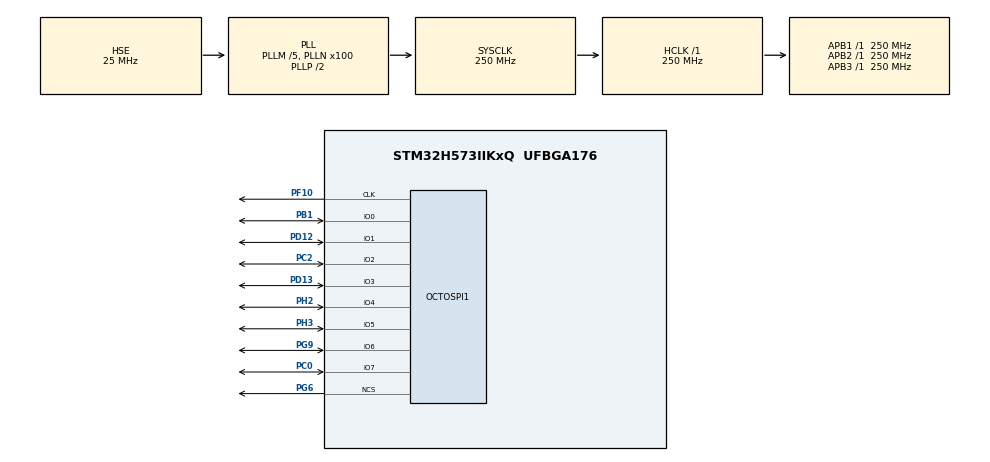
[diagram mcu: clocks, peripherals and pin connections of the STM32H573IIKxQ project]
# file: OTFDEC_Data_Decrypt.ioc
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AES.Algorithm=CRYP_AES_CTR
AES.Header=__NULL
CORTEX_M33_NS.userName=CORTEX_M33
Mcu.Family=STM32H5
Mcu.Name=STM32H573IIKxQ
Mcu.Package=UFBGA176
NVIC.OCTOSPI1_IRQn=true\:0\:0\:false\:false\:true\:true\:true\:true
NVIC.OTFDEC1_IRQn=true\:0\:0\:false\:false\:true\:true\:true\:true
NVIC.PriorityGroup=NVIC_PRIORITYGROUP_4
OCTOSPI1.ChipSelectHighTimeCycle=1
OCTOSPI1.ClockMode=HAL_XSPI_CLOCK_MODE_0
OCTOSPI1.ClockPrescaler=2
OCTOSPI1.DelayHoldQuarterCycle=HAL_XSPI_DHQC_ENABLE
OCTOSPI1.FifoThresholdByte=4
OCTOSPI1.MemorySize=HAL_XSPI_SIZE_8MB
OCTOSPI1.MemoryType=HAL_XSPI_MEMTYPE_MACRONIX
OCTOSPI1.WrapSize=HAL_XSPI_WRAP_NOT_SUPPORTED
PB1.GPIO_Speed_High_Default=GPIO_SPEED_FREQ_HIGH
PB1.Mode=octo_mode
PB1.Signal=OCTOSPI1_IO0
PB2.GPIO_Speed_High_Default=GPIO_SPEED_FREQ_HIGH
PB2.Signal=OCTOSPI1_DQS
PC0.GPIO_Speed_High_Default=GPIO_SPEED_FREQ_HIGH
PC0.Mode=octo_mode
PC0.Signal=OCTOSPI1_IO7
PC2.GPIO_Speed_High_Default=GPIO_SPEED_FREQ_HIGH
PC2.Mode=octo_mode
PC2.Signal=OCTOSPI1_IO2
PD12.GPIO_Speed_High_Default=GPIO_SPEED_FREQ_HIGH
PD12.Mode=octo_mode
PD12.Signal=OCTOSPI1_IO1
PD13.GPIO_Speed_High_Default=GPIO_SPEED_FREQ_HIGH
PD13.Mode=octo_mode
PD13.Signal=OCTOSPI1_IO3
PF10.GPIO_Speed_High_Default=GPIO_SPEED_FREQ_HIGH
PF10.Mode=octo_mode
PF10.Signal=OCTOSPI1_CLK
PG6.GPIO_Speed_High_Default=GPIO_SPEED_FREQ_HIGH
PG6.Mode=octo_mode
PG6.Signal=OCTOSPI1_NCS
PG9.GPIO_Speed_High_Default=GPIO_SPEED_FREQ_HIGH
PG9.Mode=octo_mode
PG9.Signal=OCTOSPI1_IO6
PH0-OSC_IN(PH0).Mode=HSE-DIG-External-Clock-Source
PH0-OSC_IN(PH0).Signal=RCC_OSC_IN
PH2.GPIO_Speed_High_Default=GPIO_SPEED_FREQ_HIGH
PH2.Mode=octo_mode
PH2.Signal=OCTOSPI1_IO4
PH3.GPIO_Speed_High_Default=GPIO_SPEED_FREQ_HIGH
PH3.Mode=octo_mode
PH3.Signal=OCTOSPI1_IO5
ProjectManager.HeapSize=0x200
ProjectManager.StackSize=0x400
ProjectManager.TargetToolchain=EWARM V9.20
RCC.ADCFreq_Value=250000000
RCC.AHBFreq_Value=250000000
RCC.APB1Freq_Value=250000000
RCC.APB1TimFreq_Value=250000000
RCC.APB2Freq_Value=250000000
RCC.APB2TimFreq_Value=250000000
RCC.APB3Freq_Value=250000000
RCC.CSI_VALUE=4000000
RCC.CortexFreq_Value=250000000
RCC.EPOD_VALUE=25000000
RCC.HCLKFreq_Value=250000000
RCC.HSE_VALUE=25000000
RCC.HSI48_VALUE=48000000
RCC.HSIDiv=RCC_HSI_DIV1
RCC.HSI_VALUE=64000000
RCC.LSE_VALUE=32768
RCC.LSIRC_VALUE=32000
RCC.OCTOSPIMCLockSelection=RCC_OSPICLKSOURCE_PLL1Q
RCC.PLL1Q=4
RCC.PLL2M=8
RCC.PLL2N=48
RCC.PLL2R=5
RCC.PLL2Source=RCC_PLL2_SOURCE_HSI
RCC.PLLM=5
RCC.PLLN=100
RCC.PLLSourceVirtual=RCC_PLL1_SOURCE_HSE
RCC.SYSCLKFreq_VALUE=250000000
RCC.SYSCLKSource=RCC_SYSCLKSOURCE_PLLCLK
RCC.USBFreq_Value=48000000
RCC.VCOOutputFreq_Value=500000000
VP_AES_VS_AES.Mode=AES_Activate
VP_DCACHE1_VS_DCACHE.Mode=DCACHE_Activate
VP_ICACHE_VS_ICACHE.Mode=DefaultMode
VP_OTFDEC1_VS_OTFDEC.Mode=OTFDEC_Activate
VP_PWR_VS_SECSignals.Mode=Security/Privilege
board=custom

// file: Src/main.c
/* USER CODE BEGIN Header */
/**
******************************************************************************
  * @file    Examples/DLYB/DLYB_OSPI_NOR_FastTuning/Src/main.c
  * @author  MCD Application Team
  * @brief   Main program body
******************************************************************************
* @attention
*
* Copyright (c) 2023 STMicroelectronics.
* All rights reserved.
*
* This software is licensed under terms that can be found in the LICENSE file
* in the root directory of this software component.
* If no LICENSE file comes with this software, it is provided AS-IS.
*
******************************************************************************
*/

/* USER CODE END Header */
#include "main.h"

/* USER CODE BEGIN PD */
#define START_ADRESS_OCOTOSPI1                   0x90000000
#define START_ADRESS_OTFDEC1_REGION1             0x90000000
#define END_ADRESS_OTFDEC1_REGION1               0x900003FF
#define VERSION_NUMBER                           4

#define PLAIN_SIZE                               0x100
#define START_ADRESS_WRITING_REGION              0
#define NONCE_NUMBER                             2
/* USER CODE END PD */

CRYP_HandleTypeDef hcryp;
uint32_t pKeyAES[4] = {0x00000000,0x00000000,0x00000000,0x00000000};
uint32_t pInitVectAES[4] = {0x00000000,0x00000000,0x00000000,0x00000000};

DCACHE_HandleTypeDef hdcache1;

XSPI_HandleTypeDef hxspi1;

OTFDEC_HandleTypeDef hotfdec1;

/* USER CODE BEGIN PV */
OTFDEC_RegionConfigTypeDef Config;
XSPI_MemoryMappedTypeDef sMemMappedCfg;

uint32_t OSPIAddressMode;
uint32_t OSPIDataMode;

__ALIGN_BEGIN uint32_t Cipher[PLAIN_SIZE] __ALIGN_END ;
uint32_t Plain_AES_test[PLAIN_SIZE] = {0};
uint16_t FirmwareVersion[VERSION_NUMBER] = { 0xABBA, 0xA5A5, 0x5A5A,0xF119 };

uint32_t Nonce[NONCE_NUMBER][2]       = {    {0xA5A5A5A5, 0xC3C3C3C3},
{0x11111111, 0x55555555}
};

uint32_t Region1_Range[2] = {START_ADRESS_OTFDEC1_REGION1, END_ADRESS_OTFDEC1_REGION1};

uint32_t Key[4]  = { 0x71234567, 0x89ABCDEF, 0x71234567, 0x89ABCDEF };

uint32_t Plain[PLAIN_SIZE] ={ 0x00, 0x11, 0x22, 0x33, 0x44, 0x55, 0x66, 0x77, 0x88, 0x99, 0xAA, 0xBB, 0xCC, 0xDD, 0xEE, 0xFF,
0x00, 0x11, 0x22, 0x33, 0x44, 0x55, 0x66, 0x77, 0x88, 0x99, 0xAA, 0xBB, 0xCC, 0xDD, 0xEE, 0xFF,
0x00, 0x11, 0x22, 0x33, 0x44, 0x55, 0x66, 0x77, 0x88, 0x99, 0xAA, 0xBB, 0xCC, 0xDD, 0xEE, 0xFF,
0x00, 0x11, 0x22, 0x33, 0x44, 0x55, 0x66, 0x77, 0x88, 0x99, 0xAA, 0xBB, 0xCC, 0xDD, 0xEE, 0xFF,
};

/* USER CODE END PV */

void SystemClock_Config(void);
static void MX_GPIO_Init(void);
static void MX_ICACHE_Init(void);
static void MX_OCTOSPI1_Init(void);
static void MX_AES_Init(void);
static void MX_OTFDEC1_Init(void);
static void MX_DCACHE1_Init(void);
/* USER CODE BEGIN PFP */
static void CRYP_Cipher(uint32_t index,uint32_t* pRange, uint32_t StartAdressWritingRegion);
static uint32_t OSPI_Write(uint32_t * pBuffer, uint32_t FlashAddress, uint32_t Size);
static uint32_t OSPI_MemoryMap(void);
static void OSPI_ResetMemory(void);
static uint32_t OSPI_Erase(void);
/* USER CODE END PFP */

int main(void)
{

  /* MCU Configuration--------------------------------------------------------*/

  /* Reset of all peripherals, Initializes the Flash interface and the Systick. */
  HAL_Init();

  /* USER CODE BEGIN Init */
  uint32_t i,errorBuffer = 0;
  __IO uint32_t *mem_addr_32;
  /* USER CODE END Init */

  /* Configure the system clock */
  SystemClock_Config();

  /* USER CODE BEGIN SysInit */
  /* Fill Cipher Buffer*/
  for (i=0; i <PLAIN_SIZE; i++)
  {
    Cipher[i] = 0xFF ;
  }
  /* USER CODE END SysInit */

  /* Initialize all configured peripherals */
  MX_GPIO_Init();
  MX_ICACHE_Init();
  MX_OCTOSPI1_Init();
  MX_AES_Init();
  MX_OTFDEC1_Init();
  MX_DCACHE1_Init();
  /* USER CODE BEGIN 2 */
  BSP_LED_Init(LED_RED);
  BSP_LED_Init(LED_GREEN);

  /* Reset the Flash Memory   */
  OSPI_ResetMemory();

  /* Erase the Flash Memory   */
  OSPI_Erase();

  /* Preload external HyperRAM with ciphred data issued from crypto into dedicated address*/
  CRYP_Cipher(OTFDEC_REGION1,(uint32_t*)Region1_Range,START_ADRESS_WRITING_REGION);
  OSPI_Write( Cipher,START_ADRESS_OTFDEC1_REGION1- START_ADRESS_OCOTOSPI1, PLAIN_SIZE);

  /* Activate memory mapping */
  OSPI_MemoryMap();

  __HAL_OTFDEC_ENABLE_IT(&hotfdec1, OTFDEC_ALL_INT);

  /* Set OTFDEC Mode */
  if (HAL_OTFDEC_RegionSetMode(&hotfdec1, OTFDEC_REGION1, OTFDEC_REG_MODE_INSTRUCTION_OR_DATA_ACCESSES) != HAL_OK)
  {
    Error_Handler();
  }
  /* Set OTFDEC Key */
  if (HAL_OTFDEC_RegionSetKey(&hotfdec1, OTFDEC_REGION1, Key)  != HAL_OK)
  {
    Error_Handler();
  }

  /* Configure and lock region,enable OTFDEC decryption */
  Config.Nonce[0]     = Nonce[OTFDEC_REGION1/4][0];
  Config.Nonce[1]     = Nonce[OTFDEC_REGION1/4][1];
  Config.StartAddress = START_ADRESS_OTFDEC1_REGION1 ;
  Config.EndAddress   = END_ADRESS_OTFDEC1_REGION1;
  Config.Version      = FirmwareVersion[OTFDEC_REGION1];
  if (HAL_OTFDEC_RegionConfig(&hotfdec1, OTFDEC_REGION1, &Config, OTFDEC_REG_CONFIGR_LOCK_ENABLE) != HAL_OK)
  {
    Error_Handler();
  }
  mem_addr_32= (uint32_t *)START_ADRESS_OTFDEC1_REGION1;

  /* OTFDEC activated, should read decrypted DATA */
  for (uint16_t index = 0; index < PLAIN_SIZE/4; index++)
  {
    if (*mem_addr_32 != Plain[index])
    {
      BSP_LED_On(LED_RED);
      errorBuffer++;
    }
    mem_addr_32++;
  }
  /* DeInit OTFDEC */
  HAL_OTFDEC_DeInit(&hotfdec1);

  /* DeInit OCTOSPI */
  HAL_XSPI_DeInit(&hxspi1);

  if (errorBuffer == 0)
  {
    /* Turn LED GREEN on */
    BSP_LED_On(LED_GREEN);
  }
  /* USER CODE END 2 */

  /* Infinite loop */
  while (1)
  {

  }
}

void SystemClock_Config(void)
{
  RCC_OscInitTypeDef RCC_OscInitStruct = {0};
  RCC_ClkInitTypeDef RCC_ClkInitStruct = {0};

  /** Configure the main internal regulator output voltage
  */
  __HAL_PWR_VOLTAGESCALING_CONFIG(PWR_REGULATOR_VOLTAGE_SCALE0);

  while(!__HAL_PWR_GET_FLAG(PWR_FLAG_VOSRDY)) {}

  /** Initializes the RCC Oscillators according to the specified parameters
  * in the RCC_OscInitTypeDef structure.
  */
  RCC_OscInitStruct.OscillatorType = RCC_OSCILLATORTYPE_HSE;
  RCC_OscInitStruct.HSEState = RCC_HSE_BYPASS_DIGITAL;
  RCC_OscInitStruct.PLL.PLLState = RCC_PLL_ON;
  RCC_OscInitStruct.PLL.PLLSource = RCC_PLL1_SOURCE_HSE;
  RCC_OscInitStruct.PLL.PLLM = 5;
  RCC_OscInitStruct.PLL.PLLN = 100;
  RCC_OscInitStruct.PLL.PLLP = 2;
  RCC_OscInitStruct.PLL.PLLQ = 4;
  RCC_OscInitStruct.PLL.PLLR = 2;
  RCC_OscInitStruct.PLL.PLLRGE = RCC_PLL1_VCIRANGE_2;
  RCC_OscInitStruct.PLL.PLLVCOSEL = RCC_PLL1_VCORANGE_WIDE;
  RCC_OscInitStruct.PLL.PLLFRACN = 0;
  if (HAL_RCC_OscConfig(&RCC_OscInitStruct) != HAL_OK)
  {
    Error_Handler();
  }

  /** Initializes the CPU, AHB and APB buses clocks
  */
  RCC_ClkInitStruct.ClockType = RCC_CLOCKTYPE_HCLK|RCC_CLOCKTYPE_SYSCLK
                              |RCC_CLOCKTYPE_PCLK1|RCC_CLOCKTYPE_PCLK2
                              |RCC_CLOCKTYPE_PCLK3;
  RCC_ClkInitStruct.SYSCLKSource = RCC_SYSCLKSOURCE_PLLCLK;
  RCC_ClkInitStruct.AHBCLKDivider = RCC_SYSCLK_DIV1;
  RCC_ClkInitStruct.APB1CLKDivider = RCC_HCLK_DIV1;
  RCC_ClkInitStruct.APB2CLKDivider = RCC_HCLK_DIV1;
  RCC_ClkInitStruct.APB3CLKDivider = RCC_HCLK_DIV1;

  if (HAL_RCC_ClockConfig(&RCC_ClkInitStruct, FLASH_LATENCY_5) != HAL_OK)
  {
    Error_Handler();
  }

  /** Configure the programming delay
  */
  __HAL_FLASH_SET_PROGRAM_DELAY(FLASH_PROGRAMMING_DELAY_2);
}

static void MX_AES_Init(void)
{

  hcryp.Instance = AES;
  hcryp.Init.DataType = CRYP_NO_SWAP;
  hcryp.Init.KeySize = CRYP_KEYSIZE_128B;
  hcryp.Init.pKey = (uint32_t *)pKeyAES;
  hcryp.Init.pInitVect = (uint32_t *)pInitVectAES;
  hcryp.Init.Algorithm = CRYP_AES_CTR;
  hcryp.Init.DataWidthUnit = CRYP_DATAWIDTHUNIT_WORD;
  hcryp.Init.HeaderWidthUnit = CRYP_HEADERWIDTHUNIT_WORD;
  hcryp.Init.KeyIVConfigSkip = CRYP_KEYIVCONFIG_ALWAYS;
  hcryp.Init.KeyMode = CRYP_KEYMODE_NORMAL;
  if (HAL_CRYP_Init(&hcryp) != HAL_OK)
  {
    Error_Handler();
  }

}

static void MX_DCACHE1_Init(void)
{

  hdcache1.Instance = DCACHE1;
  hdcache1.Init.ReadBurstType = DCACHE_READ_BURST_WRAP;
  if (HAL_DCACHE_Init(&hdcache1) != HAL_OK)
  {
    Error_Handler();
  }

}

static void MX_ICACHE_Init(void)
{

  /** Enable instruction cache (default 2-ways set associative cache)
  */
  if (HAL_ICACHE_Enable() != HAL_OK)
  {
    Error_Handler();
  }

}

static void MX_OCTOSPI1_Init(void)
{

  /* OCTOSPI1 parameter configuration*/
  hxspi1.Instance = OCTOSPI1;
  hxspi1.Init.FifoThresholdByte = 4;
  hxspi1.Init.MemoryMode = HAL_XSPI_SINGLE_MEM;
  hxspi1.Init.MemoryType = HAL_XSPI_MEMTYPE_MACRONIX;
  hxspi1.Init.MemorySize = HAL_XSPI_SIZE_8MB;
  hxspi1.Init.ChipSelectHighTimeCycle = 1;
  hxspi1.Init.FreeRunningClock = HAL_XSPI_FREERUNCLK_DISABLE;
  hxspi1.Init.ClockMode = HAL_XSPI_CLOCK_MODE_0;
  hxspi1.Init.WrapSize = HAL_XSPI_WRAP_NOT_SUPPORTED;
  hxspi1.Init.ClockPrescaler = 2;
  hxspi1.Init.SampleShifting = HAL_XSPI_SAMPLE_SHIFT_NONE;
  hxspi1.Init.DelayHoldQuarterCycle = HAL_XSPI_DHQC_ENABLE;
  hxspi1.Init.ChipSelectBoundary = HAL_XSPI_BONDARYOF_NONE;
  hxspi1.Init.DelayBlockBypass = HAL_XSPI_DELAY_BLOCK_BYPASS;
  hxspi1.Init.Refresh = 0;
  if (HAL_XSPI_Init(&hxspi1) != HAL_OK)
  {
    Error_Handler();
  }

}

static void MX_OTFDEC1_Init(void)
{

  hotfdec1.Instance = OTFDEC1;
  if (HAL_OTFDEC_Init(&hotfdec1) != HAL_OK)
  {
    Error_Handler();
  }

}

static void MX_GPIO_Init(void)
{

  /* GPIO Ports Clock Enable */
  __HAL_RCC_GPIOG_CLK_ENABLE();
  __HAL_RCC_GPIOH_CLK_ENABLE();
  __HAL_RCC_GPIOF_CLK_ENABLE();
  __HAL_RCC_GPIOC_CLK_ENABLE();
  __HAL_RCC_GPIOD_CLK_ENABLE();
  __HAL_RCC_GPIOB_CLK_ENABLE();

}

/* USER CODE BEGIN 4 */
/******************************************************************************/
/*                           OCTOSPI  Helper                                  */
/******************************************************************************/

static uint32_t OSPI_Write(uint32_t * pBuffer, uint32_t FlashAddress, uint32_t Size)
{
  XSPI_RegularCmdTypeDef  sCommand ={0};
  XSPI_AutoPollingTypeDef sConfig ={0};

  if (Size == 0)
  {
    Error_Handler();
  }

  sConfig.MatchMode              = HAL_XSPI_MATCH_MODE_AND;
  sConfig.AutomaticStop          = HAL_XSPI_AUTOMATIC_STOP_ENABLE;
  sConfig.IntervalTime           = 0x10;

  /* Initialize the command */
  sCommand.OperationType         = HAL_XSPI_OPTYPE_COMMON_CFG;
  sCommand.Instruction           = READ_ID_CMD;

  sCommand.InstructionMode       = HAL_XSPI_INSTRUCTION_1_LINE;
  sCommand.InstructionWidth      = HAL_XSPI_INSTRUCTION_8_BITS ;
  sCommand.InstructionDTRMode    = HAL_XSPI_INSTRUCTION_DTR_DISABLE;
  sCommand.AddressMode           = HAL_XSPI_ADDRESS_NONE;
  sCommand.AddressDTRMode        = HAL_XSPI_ADDRESS_DTR_DISABLE;
  sCommand.AlternateBytes        = 0x00;
  sCommand.AlternateBytesMode    = HAL_XSPI_ALT_BYTES_NONE;
  sCommand.AlternateBytesWidth    = HAL_XSPI_ALT_BYTES_8_BITS;
  sCommand.AlternateBytesDTRMode = HAL_XSPI_ALT_BYTES_DTR_DISABLE;
  sCommand.DataDTRMode           = HAL_XSPI_DATA_DTR_DISABLE;
  sCommand.DummyCycles           = 0;
  sCommand.DQSMode               = HAL_XSPI_DQS_DISABLE;
  sCommand.SIOOMode              = HAL_XSPI_SIOO_INST_EVERY_CMD;

  /* 1- Enable write operations ----------------------------------------- */
  sCommand.Instruction = WRITE_ENABLE_CMD;
  sCommand.AddressMode = HAL_XSPI_ADDRESS_NONE;
  sCommand.DataMode    = HAL_XSPI_DATA_NONE;

  if (HAL_XSPI_SetFifoThreshold(&hxspi1, 4) != HAL_OK)
  {
    Error_Handler();
  }

  sCommand.Instruction = WRITE_ENABLE_CMD;
  sCommand.AddressMode = HAL_XSPI_ADDRESS_NONE;
  sCommand.DataMode    = HAL_XSPI_DATA_NONE;

  if (HAL_XSPI_Command(&hxspi1, &sCommand, HAL_XSPI_TIMEOUT_DEFAULT_VALUE) != HAL_OK)
  {
    Error_Handler();
  }

  /* Configure automatic polling mode to wait for write enabling ---- */
  sConfig.MatchValue           = 0x02;
  sConfig.MatchMask            = 0x02;

  sCommand.Instruction    = READ_STATUS_REG_CMD;
  sCommand.DataMode       = HAL_XSPI_DATA_1_LINE;
  sCommand.DataLength     = 1;

  if (HAL_XSPI_Command(&hxspi1, &sCommand, HAL_XSPI_TIMEOUT_DEFAULT_VALUE) != HAL_OK)
  {
    Error_Handler();
  }

  if (HAL_XSPI_AutoPolling(&hxspi1, &sConfig,HAL_XSPI_TIMEOUT_DEFAULT_VALUE) != HAL_OK)
  {
    Error_Handler();
  }

  /* Writing Sequence ----------------------------------------------- */
  if (HAL_XSPI_SetFifoThreshold(&hxspi1, 4) != HAL_OK)
  {
    Error_Handler();
  }

  sCommand.Instruction = PAGE_PROG_CMD;
  sCommand.AddressMode = HAL_XSPI_ADDRESS_1_LINE;
  sCommand.AddressWidth = HAL_XSPI_ADDRESS_24_BITS;
  sCommand.Address     = FlashAddress;
  sCommand.DataMode    = HAL_XSPI_DATA_1_LINE;
  sCommand.DataLength  = Size;
  if (HAL_XSPI_Command(&hxspi1, &sCommand, HAL_XSPI_TIMEOUT_DEFAULT_VALUE) != HAL_OK)
  {
    Error_Handler();
  }

  if (HAL_XSPI_Transmit(&hxspi1,(uint8_t *) pBuffer,HAL_XSPI_TIMEOUT_DEFAULT_VALUE) != HAL_OK)
  {
    Error_Handler();
  }

  /* Configure automatic polling mode to wait for end of program ---- */
  sConfig.MatchValue           = MEMORY_READY_MATCH_VALUE;
  sConfig.MatchMask            = MEMORY_READY_MASK_VALUE;

  sCommand.Instruction    = READ_STATUS_REG_CMD;
  sCommand.AddressMode    = HAL_XSPI_ADDRESS_NONE;
  sCommand.DataMode       = HAL_XSPI_DATA_1_LINE;
  sCommand.DataLength     = 1;

  if (HAL_XSPI_Command(&hxspi1, &sCommand, HAL_XSPI_TIMEOUT_DEFAULT_VALUE) != HAL_OK)
  {
    Error_Handler();
  }

  if (HAL_XSPI_AutoPolling(&hxspi1, &sConfig,HAL_XSPI_TIMEOUT_DEFAULT_VALUE) != HAL_OK)
  {
    Error_Handler();
  }
  return 0;
}

/**
* @brief  This function set memory mapped mode.
* @param  None
* @retval None
*/
static uint32_t OSPI_MemoryMap(void)
{

  XSPI_RegularCmdTypeDef   sCommand;
  XSPI_MemoryMappedTypeDef sMemMappedCfg;

  /* Initialize the command */
  sCommand.OperationType         = HAL_XSPI_OPTYPE_COMMON_CFG;
  sCommand.Instruction           = PAGE_PROG_CMD;

  sCommand.InstructionMode       = HAL_XSPI_INSTRUCTION_1_LINE;
  sCommand.InstructionWidth       = HAL_XSPI_INSTRUCTION_8_BITS ;
  sCommand.InstructionDTRMode    = HAL_XSPI_INSTRUCTION_DTR_DISABLE;
  sCommand.AddressDTRMode        = HAL_XSPI_ADDRESS_DTR_DISABLE;
  sCommand.AlternateBytes        = 0x00;
  sCommand.AlternateBytesMode    = HAL_XSPI_ALT_BYTES_NONE;
  sCommand.AlternateBytesWidth    = HAL_XSPI_ALT_BYTES_8_BITS;
  sCommand.AlternateBytesDTRMode = HAL_XSPI_ALT_BYTES_DTR_DISABLE;
  sCommand.DataDTRMode           = HAL_XSPI_DATA_DTR_DISABLE;
  sCommand.DummyCycles           = 0;
  sCommand.DQSMode               = HAL_XSPI_DQS_DISABLE;
  sCommand.SIOOMode              = HAL_XSPI_SIOO_INST_EVERY_CMD;

  if (HAL_XSPI_SetFifoThreshold(&hxspi1, 4) != HAL_OK)
  {
    Error_Handler();
  }

  sCommand.OperationType = HAL_XSPI_OPTYPE_WRITE_CFG;
  sCommand.Instruction   = PAGE_PROG_CMD;
  sCommand.AddressMode   = HAL_XSPI_ADDRESS_1_LINE;
  sCommand.AddressWidth   = HAL_XSPI_ADDRESS_24_BITS;
  sCommand.DataMode      = HAL_XSPI_DATA_1_LINE;
  sCommand.DummyCycles   = 0;

  if (HAL_XSPI_Command(&hxspi1, &sCommand, HAL_XSPI_TIMEOUT_DEFAULT_VALUE) != HAL_OK)
  {
    Error_Handler();
  }

  sCommand.OperationType      = HAL_XSPI_OPTYPE_READ_CFG;
  sCommand.Instruction        = 0x03;
  sCommand.AddressMode        = HAL_XSPI_ADDRESS_1_LINE;
  sCommand.AlternateBytesMode = HAL_XSPI_ALT_BYTES_NONE;
  sCommand.DataMode           = HAL_XSPI_DATA_1_LINE;
  sCommand.DummyCycles        = 0;

  if (HAL_XSPI_Command(&hxspi1, &sCommand, HAL_XSPI_TIMEOUT_DEFAULT_VALUE) != HAL_OK)
  {
    Error_Handler();
  }

  sMemMappedCfg.TimeOutActivation      = HAL_XSPI_TIMEOUT_COUNTER_DISABLE;
  sMemMappedCfg.TimeoutPeriodClock     = 0x40;

  if (HAL_XSPI_MemoryMapped(&hxspi1, &sMemMappedCfg))
  {
    Error_Handler();
  }

  return 0;
}

/**
* @brief  This function reset the OSPI memory.
* @param  None
* @retval None
*/
static void OSPI_ResetMemory(void)
{
  XSPI_RegularCmdTypeDef  sCommand ={0};

  /* Initialize the reset enable command */
  sCommand.OperationType         = HAL_XSPI_OPTYPE_COMMON_CFG;

  sCommand.InstructionMode       = HAL_XSPI_INSTRUCTION_1_LINE;
  sCommand.InstructionWidth       = HAL_XSPI_INSTRUCTION_8_BITS;
  sCommand.InstructionDTRMode    = HAL_XSPI_INSTRUCTION_DTR_DISABLE;
  sCommand.AddressMode           = HAL_XSPI_ADDRESS_NONE;
  sCommand.AlternateBytesMode    = HAL_XSPI_ALT_BYTES_NONE;
  sCommand.DataDTRMode           = HAL_XSPI_DATA_DTR_DISABLE;
  sCommand.DummyCycles           = 0;
  sCommand.DQSMode               = HAL_XSPI_DQS_DISABLE;
  sCommand.SIOOMode              = HAL_XSPI_SIOO_INST_EVERY_CMD;
  sCommand.DataMode              = HAL_XSPI_DATA_NONE;

  sCommand.Instruction = RESET_ENABLE_CMD;
  /* Send the command */
  if (HAL_XSPI_Command(&hxspi1, &sCommand, HAL_XSPI_TIMEOUT_DEFAULT_VALUE) != HAL_OK)
  {
    Error_Handler();
  }

  /* Send the reset memory command */
  sCommand.Instruction = RESET_MEMORY_CMD;
  if (HAL_XSPI_Command(&hxspi1, &sCommand, HAL_XSPI_TIMEOUT_DEFAULT_VALUE) != HAL_OK)
  {
    Error_Handler();
  }

  HAL_Delay(40);
}

static uint32_t OSPI_Erase(void)
{
  XSPI_RegularCmdTypeDef  sCommand ={0};
  XSPI_AutoPollingTypeDef sConfig ={0};

  sConfig.MatchMode              = HAL_XSPI_MATCH_MODE_AND;
  sConfig.AutomaticStop          = HAL_XSPI_AUTOMATIC_STOP_ENABLE;
  sConfig.IntervalTime           = 0x10;

  /* Initialize the command */
  sCommand.OperationType         = HAL_XSPI_OPTYPE_COMMON_CFG;
  sCommand.Instruction           = READ_ID_CMD;

  sCommand.InstructionMode       = HAL_XSPI_INSTRUCTION_1_LINE;
  sCommand.InstructionWidth      = HAL_XSPI_INSTRUCTION_8_BITS ;
  sCommand.InstructionDTRMode    = HAL_XSPI_INSTRUCTION_DTR_DISABLE;
  sCommand.AddressMode        = HAL_XSPI_ADDRESS_NONE;
  sCommand.AddressDTRMode        = HAL_XSPI_ADDRESS_DTR_DISABLE;
  sCommand.AlternateBytes        = 0x00;
  sCommand.AlternateBytesMode    = HAL_XSPI_ALT_BYTES_NONE;
  sCommand.AlternateBytesWidth    = HAL_XSPI_ALT_BYTES_8_BITS;
  sCommand.AlternateBytesDTRMode = HAL_XSPI_ALT_BYTES_DTR_DISABLE;
  sCommand.DataDTRMode           = HAL_XSPI_DATA_DTR_DISABLE;
  sCommand.DummyCycles           = 0;
  sCommand.DQSMode               = HAL_XSPI_DQS_DISABLE;
  sCommand.SIOOMode              = HAL_XSPI_SIOO_INST_EVERY_CMD;

  /* 1- Enable write operations ----------------------------------------- */
  sCommand.Instruction = WRITE_ENABLE_CMD;
  sCommand.AddressMode = HAL_XSPI_ADDRESS_NONE;
  sCommand.DataMode    = HAL_XSPI_DATA_NONE;

  if (HAL_XSPI_Command(&hxspi1, &sCommand, HAL_XSPI_TIMEOUT_DEFAULT_VALUE) != HAL_OK)
  {
    Error_Handler();
  }

  /* Configure automatic polling mode to wait for write enabling ---- */
  sConfig.MatchValue           = 0x02;
  sConfig.MatchMask            = 0x02;

  sCommand.Instruction    = READ_STATUS_REG_CMD;
  sCommand.DataMode       = HAL_XSPI_DATA_1_LINE;
  sCommand.DataLength     = 1;

  if (HAL_XSPI_Command(&hxspi1, &sCommand, HAL_XSPI_TIMEOUT_DEFAULT_VALUE) != HAL_OK)
  {
    Error_Handler();
  }

  if (HAL_XSPI_AutoPolling(&hxspi1, &sConfig,HAL_XSPI_TIMEOUT_DEFAULT_VALUE) != HAL_OK)
  {
    Error_Handler();
  }

  /* Erasing Sequence ----------------------------------------------- */

  sCommand.Instruction = BLOCK_ERASE_CMD;
  sCommand.AddressMode = HAL_XSPI_ADDRESS_1_LINE;
  sCommand.AddressWidth = HAL_XSPI_ADDRESS_24_BITS;
  sCommand.Address     = 0;
  sCommand.DataMode    = HAL_XSPI_DATA_NONE;
  if (HAL_XSPI_Command(&hxspi1, &sCommand, HAL_XSPI_TIMEOUT_DEFAULT_VALUE) != HAL_OK)
  {
    Error_Handler();
  }

  /* Configure automatic polling mode to wait for end of erase ------ */
  sConfig.MatchValue           = MEMORY_READY_MATCH_VALUE;
  sConfig.MatchMask            = MEMORY_READY_MASK_VALUE;

  sCommand.Instruction    = READ_STATUS_REG_CMD;
  sCommand.AddressMode    = HAL_XSPI_ADDRESS_NONE;
  sCommand.DataMode       = HAL_XSPI_DATA_1_LINE;
  sCommand.DataLength     = 1;

  if (HAL_XSPI_Command(&hxspi1, &sCommand, HAL_XSPI_TIMEOUT_DEFAULT_VALUE) != HAL_OK)
  {
    Error_Handler();
  }

  if (HAL_XSPI_AutoPolling(&hxspi1, &sConfig,HAL_XSPI_TIMEOUT_DEFAULT_VALUE) != HAL_OK)
  {
    Error_Handler();
  }
  return 0;
}

/****************************************************************************/
/*                           Cryp Helper                                    */
/****************************************************************************/

void CRYP_Cipher(uint32_t index,uint32_t* pRange, uint32_t StartAdressWritingRegion)
{
  uint32_t tmp;
  uint32_t AESIV[4] = {0};
  uint32_t  j = 0;
  uint32_t Key_tmp[4]={Key[0],Key[1],Key[2],Key[3]};
  CRYP_ConfigTypeDef AES_Conf = {0};

  tmp       = Key_tmp[0];
  Key_tmp[0] = Key_tmp[3];
  Key_tmp[3] = tmp;
  tmp       = Key_tmp[1];
  Key_tmp[1] = Key_tmp[2];
  Key_tmp[2] = tmp;

  AESIV [3] = ((index%4)<<28) | ((pRange[index*2]+StartAdressWritingRegion)>>4);
  AESIV [2] = FirmwareVersion[index];
  AESIV [1] = Nonce[index/4][0];
  AESIV [0] = Nonce[index/4][1];

  MX_AES_Init();

  HAL_CRYP_GetConfig(&hcryp, &AES_Conf);
  AES_Conf.pKey =  Key_tmp;
  AES_Conf.pInitVect = AESIV;
  HAL_CRYP_SetConfig(&hcryp, &AES_Conf);

  for (j=0; j<(PLAIN_SIZE)/4;j++)
  {
    Plain_AES_test[4*j] = Plain[4*j+3+(StartAdressWritingRegion/4)];
    Plain_AES_test[4*j+3] = Plain[4*j+(StartAdressWritingRegion/4)];
    Plain_AES_test[4*j+1] = Plain[4*j+2+(StartAdressWritingRegion/4)];
    Plain_AES_test[4*j+2] = Plain[4*j+1+(StartAdressWritingRegion/4)] ;
  }
  HAL_CRYP_Encrypt(&hcryp, Plain_AES_test, (PLAIN_SIZE), Cipher, 0x1000);

  for (j=0; j<(PLAIN_SIZE)/4;j++)
  {
    tmp = Cipher[4*j];
    Cipher[4*j] = Cipher[4*j+3];
    Cipher[4*j+3] = tmp;
    tmp = Cipher[4*j+1];
    Cipher[4*j+1] = Cipher[4*j+2];
    Cipher[4*j+2] = tmp;
  }
  HAL_CRYP_DeInit(&hcryp);
}
/* USER CODE END 4 */

void Error_Handler(void)
{
  __disable_irq();
  while (1)
  {
  }
}
